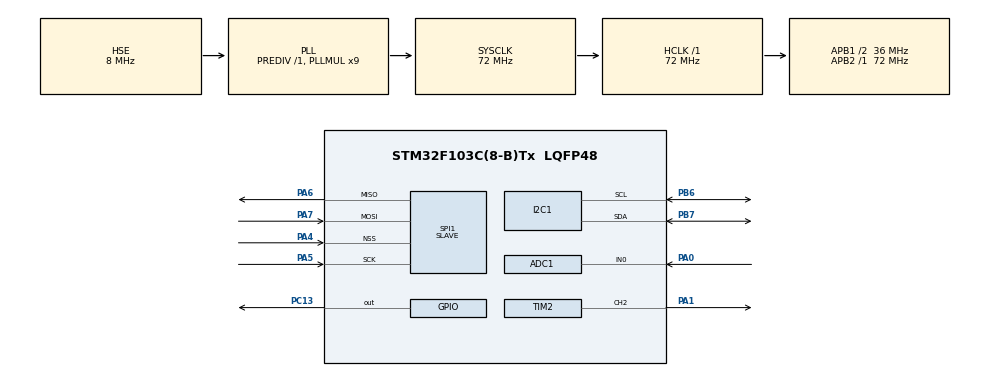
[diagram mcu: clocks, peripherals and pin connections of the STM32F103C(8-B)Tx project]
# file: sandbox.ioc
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ADC1.Channel-0\#ChannelRegularConversion=ADC_CHANNEL_0
ADC1.NbrOfConversionFlag=1
ADC1.Rank-0\#ChannelRegularConversion=1
ADC1.SamplingTime-0\#ChannelRegularConversion=ADC_SAMPLETIME_1CYCLE_5
ADC1.master=1
Mcu.Family=STM32F1
Mcu.Name=STM32F103C(8-B)Tx
Mcu.Package=LQFP48
NVIC.ADC1_2_IRQn=true\:0\:0\:false\:false\:true\:true\:true\:true
NVIC.PriorityGroup=NVIC_PRIORITYGROUP_4
PA0-WKUP.Signal=ADCx_IN0
PA1.Signal=S_TIM2_CH2
PA13.Mode=Serial_Wire
PA13.Signal=SYS_JTMS-SWDIO
PA14.Mode=Serial_Wire
PA14.Signal=SYS_JTCK-SWCLK
PA4.Mode=NSS_Signal_Hard_Input
PA4.Signal=SPI1_NSS
PA5.Mode=Full_Duplex_Slave
PA5.Signal=SPI1_SCK
PA6.Mode=Full_Duplex_Slave
PA6.Signal=SPI1_MISO
PA7.Mode=Full_Duplex_Slave
PA7.Signal=SPI1_MOSI
PB6.Mode=I2C
PB6.Signal=I2C1_SCL
PB7.Mode=I2C
PB7.Signal=I2C1_SDA
PC13-TAMPER-RTC.Signal=GPIO_Output
PD0-OSC_IN.Mode=HSE-External-Oscillator
PD0-OSC_IN.Signal=RCC_OSC_IN
PD1-OSC_OUT.Mode=HSE-External-Oscillator
PD1-OSC_OUT.Signal=RCC_OSC_OUT
ProjectManager.HeapSize=0x200
ProjectManager.StackSize=0x400
ProjectManager.TargetToolchain=STM32CubeIDE
RCC.ADCPresc=RCC_ADCPCLK2_DIV6
RCC.AHBFreq_Value=72000000
RCC.APB1CLKDivider=RCC_HCLK_DIV2
RCC.APB1Freq_Value=36000000
RCC.APB1TimFreq_Value=72000000
RCC.APB2Freq_Value=72000000
RCC.APB2TimFreq_Value=72000000
RCC.HCLKFreq_Value=72000000
RCC.PLLMUL=RCC_PLL_MUL9
RCC.PLLSourceVirtual=RCC_PLLSOURCE_HSE
RCC.SYSCLKFreq_VALUE=72000000
RCC.SYSCLKSource=RCC_SYSCLKSOURCE_PLLCLK
RCC.USBFreq_Value=72000000
SH.ADCx_IN0.0=ADC1_IN0,IN0
SH.S_TIM2_CH2.0=TIM2_CH2,PWM Generation2 CH2
SPI1.Direction=SPI_DIRECTION_2LINES
SPI1.Mode=SPI_MODE_SLAVE
SPI1.VirtualNSS=VM_NSSHARD
SPI1.VirtualType=VM_SLAVE
TIM2.Channel-PWM\ Generation2\ CH2=TIM_CHANNEL_2
TIM2.Period=4095
board=custom

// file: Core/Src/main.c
/* USER CODE BEGIN Header */
/**
 ******************************************************************************
 * @file           : main.c
 * @brief          : Main program body
 ******************************************************************************
 * @attention
 *
 * Copyright (c) 2026 STMicroelectronics.
 * All rights reserved.
 *
 * This software is licensed under terms that can be found in the LICENSE file
 * in the root directory of this software component.
 * If no LICENSE file comes with this software, it is provided AS-IS.
 *
 ******************************************************************************
 */
/* USER CODE END Header */
#include "main.h"

/* USER CODE BEGIN PTD */
typedef struct {
	uint8_t led_power;
	uint8_t potentiometer_value;
} spi_packet_t;
/* USER CODE END PTD */

ADC_HandleTypeDef hadc1;

I2C_HandleTypeDef hi2c1;

SPI_HandleTypeDef hspi1;

TIM_HandleTypeDef htim2;

/* USER CODE BEGIN PV */
volatile uint32_t adc_value = 0;
const uint32_t MAX_ADC_REAL_VALUE = 4015;
volatile uint8_t update_system = 0;
spi_packet_t spi_tx_data = { 0 };
spi_packet_t spi_rx_data = { 0 };
uint8_t previous_adc_led_power = 0;
uint8_t previous_rx_led_power = 0;
uint8_t current_led_power=0;
/* USER CODE END PV */

void SystemClock_Config(void);
static void MX_GPIO_Init(void);
static void MX_ADC1_Init(void);
static void MX_TIM2_Init(void);
static void MX_I2C1_Init(void);
static void MX_SPI1_Init(void);

int main(void) {

	/* MCU Configuration--------------------------------------------------------*/

	/* Reset of all peripherals, Initializes the Flash interface and the Systick. */
	HAL_Init();

	/* Configure the system clock */
	SystemClock_Config();

	/* Initialize all configured peripherals */
	MX_GPIO_Init();
	MX_ADC1_Init();
	MX_TIM2_Init();
	MX_I2C1_Init();
	MX_SPI1_Init();
	/* USER CODE BEGIN 2 */
	HAL_TIM_PWM_Start(&htim2, TIM_CHANNEL_2);

	HAL_ADC_Start_IT(&hadc1);

	HAL_GPIO_WritePin(GPIOC, GPIO_PIN_13, GPIO_PIN_RESET);

	ssd1306_Init();

	ssd1306_Fill(Black);

	ssd1306_UpdateScreen();

	ssd1306_SetCursor(0, 0);

	/* USER CODE END 2 */

	/* Infinite loop */
	while (1) {

		/* USER CODE BEGIN 3 */
		if (update_system == 1) {
		    const uint8_t current_adc_led_power = (adc_value * 100) / MAX_ADC_REAL_VALUE;

		    spi_tx_data.potentiometer_value = current_adc_led_power;

		    HAL_SPI_TransmitReceive(&hspi1, (uint8_t*)&spi_tx_data, (uint8_t*)&spi_rx_data, sizeof(spi_packet_t), HAL_MAX_DELAY);

		    if (spi_rx_data.led_power != previous_rx_led_power) {
		    	current_led_power = spi_rx_data.led_power;
		    	previous_rx_led_power = spi_rx_data.led_power;
		    	previous_adc_led_power = current_adc_led_power;
 		    } else if (abs((int)current_adc_led_power - (int)previous_adc_led_power) > 1) {
 		    	current_led_power =  current_adc_led_power;
 		    	previous_adc_led_power = current_adc_led_power;
 		    	previous_rx_led_power = spi_rx_data.led_power;
 		    }

		    const uint32_t PWM = (current_led_power * MAX_ADC_REAL_VALUE) / 100;

		    __HAL_TIM_SET_COMPARE(&htim2, TIM_CHANNEL_2, PWM);

		    char buffer[20] = {0};

		    sprintf(buffer, "Power:% 4d%% ", current_led_power);

		    ssd1306_SetCursor(0, 0);

		    ssd1306_WriteString(buffer, Font_11x18, White);

		    ssd1306_UpdateScreen();

		    update_system = 0;

		    HAL_Delay(50);

		    HAL_ADC_Start_IT(&hadc1);
		}
	}
	/* USER CODE END 3 */
}

void SystemClock_Config(void) {
	RCC_OscInitTypeDef RCC_OscInitStruct = { 0 };
	RCC_ClkInitTypeDef RCC_ClkInitStruct = { 0 };
	RCC_PeriphCLKInitTypeDef PeriphClkInit = { 0 };

	/** Initializes the RCC Oscillators according to the specified parameters
	 * in the RCC_OscInitTypeDef structure.
	 */
	RCC_OscInitStruct.OscillatorType = RCC_OSCILLATORTYPE_HSE;
	RCC_OscInitStruct.HSEState = RCC_HSE_ON;
	RCC_OscInitStruct.HSEPredivValue = RCC_HSE_PREDIV_DIV1;
	RCC_OscInitStruct.HSIState = RCC_HSI_ON;
	RCC_OscInitStruct.PLL.PLLState = RCC_PLL_ON;
	RCC_OscInitStruct.PLL.PLLSource = RCC_PLLSOURCE_HSE;
	RCC_OscInitStruct.PLL.PLLMUL = RCC_PLL_MUL9;
	if (HAL_RCC_OscConfig(&RCC_OscInitStruct) != HAL_OK) {
		Error_Handler();
	}

	/** Initializes the CPU, AHB and APB buses clocks
	 */
	RCC_ClkInitStruct.ClockType = RCC_CLOCKTYPE_HCLK | RCC_CLOCKTYPE_SYSCLK
			| RCC_CLOCKTYPE_PCLK1 | RCC_CLOCKTYPE_PCLK2;
	RCC_ClkInitStruct.SYSCLKSource = RCC_SYSCLKSOURCE_PLLCLK;
	RCC_ClkInitStruct.AHBCLKDivider = RCC_SYSCLK_DIV1;
	RCC_ClkInitStruct.APB1CLKDivider = RCC_HCLK_DIV2;
	RCC_ClkInitStruct.APB2CLKDivider = RCC_HCLK_DIV1;

	if (HAL_RCC_ClockConfig(&RCC_ClkInitStruct, FLASH_LATENCY_2) != HAL_OK) {
		Error_Handler();
	}
	PeriphClkInit.PeriphClockSelection = RCC_PERIPHCLK_ADC;
	PeriphClkInit.AdcClockSelection = RCC_ADCPCLK2_DIV6;
	if (HAL_RCCEx_PeriphCLKConfig(&PeriphClkInit) != HAL_OK) {
		Error_Handler();
	}
}

static void MX_ADC1_Init(void) {

	ADC_ChannelConfTypeDef sConfig = { 0 };

	/** Common config
	 */
	hadc1.Instance = ADC1;
	hadc1.Init.ScanConvMode = ADC_SCAN_DISABLE;
	hadc1.Init.ContinuousConvMode = DISABLE;
	hadc1.Init.DiscontinuousConvMode = DISABLE;
	hadc1.Init.ExternalTrigConv = ADC_SOFTWARE_START;
	hadc1.Init.DataAlign = ADC_DATAALIGN_RIGHT;
	hadc1.Init.NbrOfConversion = 1;
	if (HAL_ADC_Init(&hadc1) != HAL_OK) {
		Error_Handler();
	}

	/** Configure Regular Channel
	 */
	sConfig.Channel = ADC_CHANNEL_0;
	sConfig.Rank = ADC_REGULAR_RANK_1;
	sConfig.SamplingTime = ADC_SAMPLETIME_1CYCLE_5;
	if (HAL_ADC_ConfigChannel(&hadc1, &sConfig) != HAL_OK) {
		Error_Handler();
	}

}

static void MX_I2C1_Init(void) {

	hi2c1.Instance = I2C1;
	hi2c1.Init.ClockSpeed = 100000;
	hi2c1.Init.DutyCycle = I2C_DUTYCYCLE_2;
	hi2c1.Init.OwnAddress1 = 0;
	hi2c1.Init.AddressingMode = I2C_ADDRESSINGMODE_7BIT;
	hi2c1.Init.DualAddressMode = I2C_DUALADDRESS_DISABLE;
	hi2c1.Init.OwnAddress2 = 0;
	hi2c1.Init.GeneralCallMode = I2C_GENERALCALL_DISABLE;
	hi2c1.Init.NoStretchMode = I2C_NOSTRETCH_DISABLE;
	if (HAL_I2C_Init(&hi2c1) != HAL_OK) {
		Error_Handler();
	}

}

static void MX_SPI1_Init(void) {

	/* SPI1 parameter configuration*/
	hspi1.Instance = SPI1;
	hspi1.Init.Mode = SPI_MODE_SLAVE;
	hspi1.Init.Direction = SPI_DIRECTION_2LINES;
	hspi1.Init.DataSize = SPI_DATASIZE_8BIT;
	hspi1.Init.CLKPolarity = SPI_POLARITY_LOW;
	hspi1.Init.CLKPhase = SPI_PHASE_1EDGE;
	hspi1.Init.NSS = SPI_NSS_HARD_INPUT;
	hspi1.Init.FirstBit = SPI_FIRSTBIT_MSB;
	hspi1.Init.TIMode = SPI_TIMODE_DISABLE;
	hspi1.Init.CRCCalculation = SPI_CRCCALCULATION_DISABLE;
	hspi1.Init.CRCPolynomial = 10;
	if (HAL_SPI_Init(&hspi1) != HAL_OK) {
		Error_Handler();
	}

}

static void MX_TIM2_Init(void) {

	TIM_MasterConfigTypeDef sMasterConfig = { 0 };
	TIM_OC_InitTypeDef sConfigOC = { 0 };

	htim2.Instance = TIM2;
	htim2.Init.Prescaler = 0;
	htim2.Init.CounterMode = TIM_COUNTERMODE_UP;
	htim2.Init.Period = 4095;
	htim2.Init.ClockDivision = TIM_CLOCKDIVISION_DIV1;
	htim2.Init.AutoReloadPreload = TIM_AUTORELOAD_PRELOAD_DISABLE;
	if (HAL_TIM_PWM_Init(&htim2) != HAL_OK) {
		Error_Handler();
	}
	sMasterConfig.MasterOutputTrigger = TIM_TRGO_RESET;
	sMasterConfig.MasterSlaveMode = TIM_MASTERSLAVEMODE_DISABLE;
	if (HAL_TIMEx_MasterConfigSynchronization(&htim2, &sMasterConfig)
			!= HAL_OK) {
		Error_Handler();
	}
	sConfigOC.OCMode = TIM_OCMODE_PWM1;
	sConfigOC.Pulse = 0;
	sConfigOC.OCPolarity = TIM_OCPOLARITY_HIGH;
	sConfigOC.OCFastMode = TIM_OCFAST_DISABLE;
	if (HAL_TIM_PWM_ConfigChannel(&htim2, &sConfigOC, TIM_CHANNEL_2)
			!= HAL_OK) {
		Error_Handler();
	}
	HAL_TIM_MspPostInit(&htim2);

}

static void MX_GPIO_Init(void) {
	GPIO_InitTypeDef GPIO_InitStruct = { 0 };

	/* GPIO Ports Clock Enable */
	__HAL_RCC_GPIOC_CLK_ENABLE();
	__HAL_RCC_GPIOD_CLK_ENABLE();
	__HAL_RCC_GPIOA_CLK_ENABLE();
	__HAL_RCC_GPIOB_CLK_ENABLE();

	/*Configure GPIO pin Output Level */
	HAL_GPIO_WritePin(GPIOC, GPIO_PIN_13, GPIO_PIN_RESET);

	/*Configure GPIO pin : PC13 */
	GPIO_InitStruct.Pin = GPIO_PIN_13;
	GPIO_InitStruct.Mode = GPIO_MODE_OUTPUT_PP;
	GPIO_InitStruct.Pull = GPIO_NOPULL;
	GPIO_InitStruct.Speed = GPIO_SPEED_FREQ_LOW;
	HAL_GPIO_Init(GPIOC, &GPIO_InitStruct);

}

/* USER CODE BEGIN 4 */
void HAL_ADC_ConvCpltCallback(ADC_HandleTypeDef *hadc) {
	if (hadc->Instance == ADC1) {
		adc_value = HAL_ADC_GetValue(&hadc1);

		if (adc_value > MAX_ADC_REAL_VALUE) {
			adc_value = MAX_ADC_REAL_VALUE;
		}

		update_system = 1;
	}
}
/* USER CODE END 4 */

void Error_Handler(void) {
	__disable_irq();
	while (1) {
	}
}
